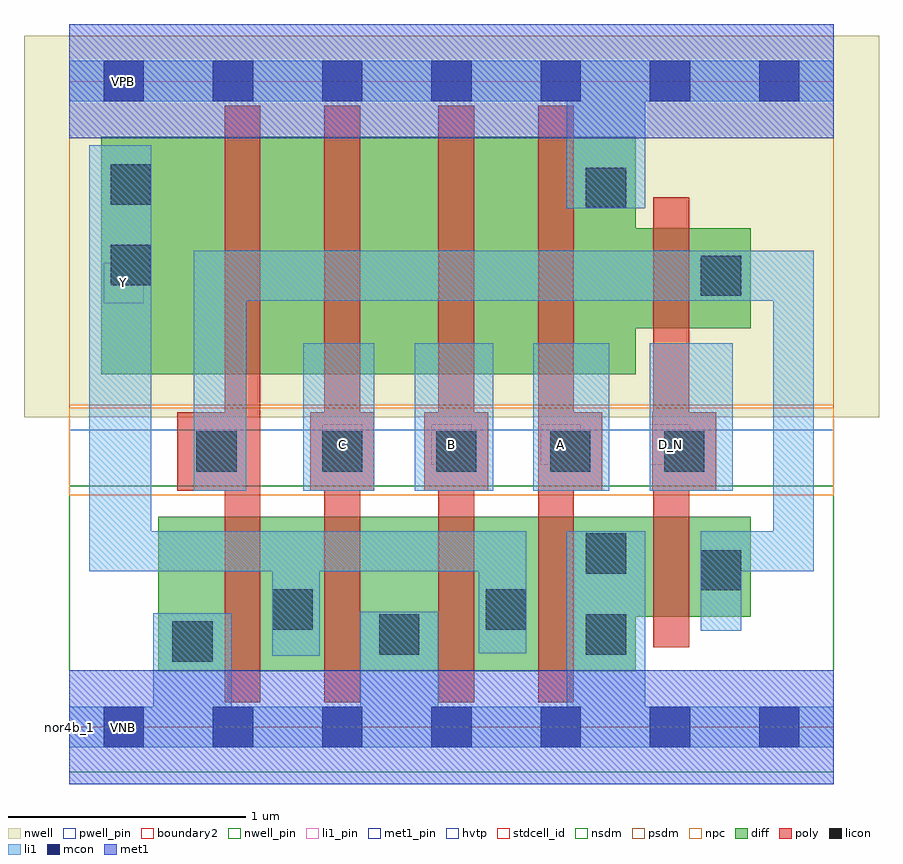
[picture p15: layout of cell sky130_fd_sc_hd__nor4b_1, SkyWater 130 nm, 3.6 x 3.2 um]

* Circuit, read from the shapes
.subckt sky130_fd_sc_hd__nor4b_1 A B C D_N VGND VNB VPB VPWR Y
XM1 Y n1 VGND VNB sky130_fd_pr__nfet_01v8 w=0.65 l=0.15
XM2 VGND C Y VNB sky130_fd_pr__nfet_01v8 w=0.65 l=0.15
XM3 Y B VGND VNB sky130_fd_pr__nfet_01v8 w=0.65 l=0.15
XM4 VGND A Y VNB sky130_fd_pr__nfet_01v8 w=0.65 l=0.15
XM5 n1 D_N VGND VNB sky130_fd_pr__nfet_01v8 w=0.42 l=0.15
XM6 n2 n1 Y VPB sky130_fd_pr__pfet_01v8_hvt w=1 l=0.15
XM7 n3 C n2 VPB sky130_fd_pr__pfet_01v8_hvt w=1 l=0.15
XM8 n4 B n3 VPB sky130_fd_pr__pfet_01v8_hvt w=1 l=0.15
XM9 VPWR A n4 VPB sky130_fd_pr__pfet_01v8_hvt w=1 l=0.15
XM10 n1 D_N VPWR VPB sky130_fd_pr__pfet_01v8_hvt w=0.42 l=0.15
.ends

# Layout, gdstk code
import gdstk
lib = gdstk.Library(unit=1e-6, precision=1e-09)
def R(c, l, rs):  # rectangles x0, y0, x1, y1
    for r in rs: c.add(gdstk.rectangle(r[:2], r[2:], *l))
def A(c, l, x, y, w, h, nx, ny, dx, dy):  # array of equal rectangles
    R(c, l, [(x+i*dx, y+j*dy, x+i*dx+w, y+j*dy+h) for i in range(nx) for j in range(ny)])
def P(c, l, *ps):  # polygons
    for p in ps: c.add(gdstk.Polygon(p, *l))
nwell_pin = (64, 16)
nwell = (64, 20)
diff = (65, 20)
poly = (66, 20)
licon = (66, 44)
li1_pin = (67, 16)
li1 = (67, 20)
mcon = (67, 44)
met1_pin = (68, 16)
met1 = (68, 20)
hvtp = (78, 44)
stdcell_id = (81, 4)
nsdm = (93, 44)
psdm = (94, 20)
npc = (95, 20)
pwell_pin = (122, 16)
boundary2 = (236, 0)

sky130_fd_sc_hd__nor4b_1 = lib.new_cell('sky130_fd_sc_hd__nor4b_1')
R(sky130_fd_sc_hd__nor4b_1, nwell_pin, [(0.145,2.635,0.315,2.805)])
R(sky130_fd_sc_hd__nor4b_1, nwell, [(-0.19,1.305,3.41,2.91)])
P(sky130_fd_sc_hd__nor4b_1, diff, [(2.87,2.1),(2.385,2.1),(2.385,2.485),(0.135,2.485),(0.135,1.485),(2.385,1.485),(2.385,1.68),(2.87,1.68)],
  [(2.87,0.885),(0.375,0.885),(0.375,0.235),(2.385,0.235),(2.385,0.465),(2.87,0.465)])
P(sky130_fd_sc_hd__nor4b_1, poly, [(0.805,2.615),(0.655,2.615),(0.655,1.325),(0.455,1.325),(0.455,0.995),(0.655,0.995),(0.655,0.105),(0.805,0.105)],
  [(1.285,1.325),(1.225,1.325),(1.225,2.615),(1.075,2.615),(1.075,1.325),(1.015,1.325),(1.015,0.995),(1.075,0.995),(1.075,0.105),(1.225,0.105),(1.225,0.995),(1.285,0.995)],
  [(1.765,1.325),(1.705,1.325),(1.705,2.615),(1.555,2.615),(1.555,1.325),(1.495,1.325),(1.495,0.995),(1.555,0.995),(1.555,0.105),(1.705,0.105),(1.705,0.995),(1.765,0.995)],
  [(2.245,1.325),(2.125,1.325),(2.125,2.615),(1.975,2.615),(1.975,0.105),(2.125,0.105),(2.125,0.995),(2.245,0.995)],
  [(2.725,1.325),(2.61,1.325),(2.61,2.23),(2.46,2.23),(2.46,1.325),(2.455,1.325),(2.455,0.995),(2.46,0.995),(2.46,0.335),(2.61,0.335),(2.61,0.995),(2.725,0.995)])
A(sky130_fd_sc_hd__nor4b_1, licon, 1.065, 1.075, 0.17, 0.17, 4, 1, 0.48, 0)
R(sky130_fd_sc_hd__nor4b_1, licon, [(0.435,0.275,0.605,0.445), (1.305,0.305,1.475,0.475), (2.175,0.305,2.345,0.475), (0.855,0.41,1.025,0.58), (1.755,0.41,1.925,0.58), (2.66,0.575,2.83,0.745), (2.175,0.645,2.345,0.815), (0.535,1.075,0.705,1.245), (2.66,1.815,2.83,1.985), (0.175,1.86,0.345,2.03), (2.175,2.185,2.345,2.355), (0.175,2.2,0.345,2.37)])
A(sky130_fd_sc_hd__nor4b_1, li1_pin, 1.065, 1.105, 0.17, 0.17, 4, 1, 0.46, 0)
R(sky130_fd_sc_hd__nor4b_1, li1_pin, [(0.145,1.785,0.315,1.955)])
R(sky130_fd_sc_hd__nor4b_1, li1, [(0.985,0.995,1.285,1.615), (1.455,0.995,1.785,1.615), (1.955,0.995,2.275,1.615), (2.445,0.995,2.795,1.615)])
P(sky130_fd_sc_hd__nor4b_1, li1, [(3.22,0.085),(2.425,0.085),(2.425,0.825),(2.095,0.825),(2.095,0.085),(1.555,0.085),(1.555,0.485),(1.225,0.485),(1.225,0.085),(0.685,0.085),(0.685,0.48),(0.355,0.48),(0.355,0.085),(0,0.085),(0,-0.085),(3.22,-0.085)],
  [(3.22,2.805),(0,2.805),(0,2.635),(2.095,2.635),(2.095,2.185),(2.425,2.185),(2.425,2.635),(3.22,2.635)],
  [(1.925,0.825),(0.345,0.825),(0.345,2.45),(0.085,2.45),(0.085,0.655),(0.855,0.655),(0.855,0.3),(1.055,0.3),(1.055,0.655),(1.725,0.655),(1.725,0.31),(1.925,0.31)],
  [(3.135,2.005),(0.525,2.005),(0.525,0.995),(0.745,0.995),(0.745,1.795),(2.965,1.795),(2.965,0.825),(2.66,0.825),(2.66,0.405),(2.83,0.405),(2.83,0.655),(3.135,0.655)])
A(sky130_fd_sc_hd__nor4b_1, mcon, 0.145, -0.085, 0.17, 0.17, 7, 2, 0.46, 2.72)
R(sky130_fd_sc_hd__nor4b_1, met1_pin, [(0.145,-0.085,0.315,0.085), (0.145,2.635,0.315,2.805)])
R(sky130_fd_sc_hd__nor4b_1, hvtp, [(0,1.25,3.22,2.72)])
R(sky130_fd_sc_hd__nor4b_1, stdcell_id, [(0,0,3.22,2.72)])
R(sky130_fd_sc_hd__nor4b_1, nsdm, [(0,-0.19,3.22,1.015)])
R(sky130_fd_sc_hd__nor4b_1, psdm, [(0,1.355,3.22,2.91)])
R(sky130_fd_sc_hd__nor4b_1, npc, [(0,0.975,3.22,1.345)])
R(sky130_fd_sc_hd__nor4b_1, pwell_pin, [(0.145,-0.085,0.315,0.085)])
R(sky130_fd_sc_hd__nor4b_1, boundary2, [(0,0,3.22,2.72)])
sky130_fd_sc_hd__nor4b_1.add(gdstk.FlexPath([(0,2.72),(3.22,2.72)], 0.48, ends="flush", simple_path=True, layer=68, datatype=20))  # met1
sky130_fd_sc_hd__nor4b_1.add(gdstk.FlexPath([(0,0),(3.22,0)], 0.48, ends="flush", simple_path=True, layer=68, datatype=20))  # met1
sky130_fd_sc_hd__nor4b_1.add(gdstk.Label('C', (1.15,1.19), layer=67, texttype=5))
sky130_fd_sc_hd__nor4b_1.add(gdstk.Label('B', (1.61,1.19), layer=67, texttype=5))
sky130_fd_sc_hd__nor4b_1.add(gdstk.Label('A', (2.07,1.19), layer=67, texttype=5))
sky130_fd_sc_hd__nor4b_1.add(gdstk.Label('D_N', (2.53,1.19), layer=67, texttype=5))
sky130_fd_sc_hd__nor4b_1.add(gdstk.Label('Y', (0.23,1.87), layer=67, texttype=5))
sky130_fd_sc_hd__nor4b_1.add(gdstk.Label('VPB', (0.23,2.72), layer=64, texttype=5))
sky130_fd_sc_hd__nor4b_1.add(gdstk.Label('VNB', (0.23,0), layer=64, texttype=59))
sky130_fd_sc_hd__nor4b_1.add(gdstk.Label('VGND', (0.23,0), layer=68, texttype=5))
sky130_fd_sc_hd__nor4b_1.add(gdstk.Label('VPWR', (0.23,2.72), layer=68, texttype=5))
sky130_fd_sc_hd__nor4b_1.add(gdstk.Label('nor4b_1', (0,0), layer=83, texttype=44))

lib.write_gds('sky130_fd_sc_hd__nor4b_1.gds')
